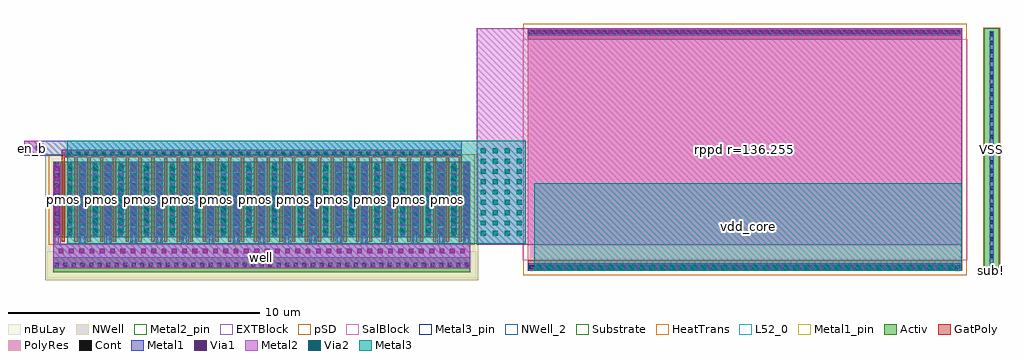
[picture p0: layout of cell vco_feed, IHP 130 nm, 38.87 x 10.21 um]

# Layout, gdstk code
import gdstk
lib = gdstk.Library(unit=1e-6, precision=1e-09)
def R(c, l, rs):  # rectangles x0, y0, x1, y1
    for r in rs: c.add(gdstk.rectangle(r[:2], r[2:], *l))
def A(c, l, x, y, w, h, nx, ny, dx, dy):  # array of equal rectangles
    R(c, l, [(x+i*dx, y+j*dy, x+i*dx+w, y+j*dy+h) for i in range(nx) for j in range(ny)])
def P(c, l, *ps):  # polygons
    for p in ps: c.add(gdstk.Polygon(p, *l))
Activ = (1, 0)
GatPoly = (5, 0)
Cont = (6, 0)
Metal1 = (8, 0)
Metal1_pin = (8, 2)
Metal2 = (10, 0)
Metal2_pin = (10, 2)
pSD = (14, 0)
Via1 = (19, 0)
SalBlock = (28, 0)
Via2 = (29, 0)
Metal3 = (30, 0)
Metal3_pin = (30, 2)
NWell = (31, 0)
NWell_2 = (31, 2)
nBuLay = (32, 0)
Substrate = (40, 0)
HeatTrans = (51, 0)
L52_0 = (52, 0)
EXTBlock = (111, 0)
PolyRes = (128, 0)

vco_feed = lib.new_cell('vco_feed')
A(vco_feed, Activ, 1.6, 4.43, 0.3, 0.3, 33, 1, 0.51, 0)
R(vco_feed, Activ, [(1.6,0.33,18.22,0.93), (38.68,0.39,39.28,10.05), (1.6,1.73,18.22,4.73)])
A(vco_feed, GatPoly, 1.94, 1.55, 0.13, 3.36, 32, 1, 0.51, 0)
R(vco_feed, GatPoly, [(20.5,0.39,37.8,0.62), (20.5,0.62,37.8,0.82), (1.94,1.55,2.07,4.91), (1.94,4.91,17.88,5.21), (2.11,4.91,17.71,5.21), (20.5,9.62,37.8,9.82), (20.5,9.82,37.8,10.05)])
A(vco_feed, Cont, 1.67, 0.55, 0.16, 0.16, 49, 1, 0.34, 0)
A(vco_feed, Cont, 38.9, 0.55, 0.16, 0.16, 1, 28, 0, 0.34)
A(vco_feed, Cont, 1.67, 1.8, 0.16, 0.16, 33, 2, 0.51, 0.39)
A(vco_feed, Cont, 1.67, 2.575, 0.16, 0.16, 33, 6, 0.51, 0.385)
A(vco_feed, Cont, 2.18, 4.98, 0.16, 0.16, 46, 1, 0.34, 0)
R(vco_feed, Cont, [(20.57,0.46,37.73,0.62), (20.57,9.82,37.73,9.98)])
R(vco_feed, Metal1, [(20.52,0.39,37.78,0.69), (38.9,0.5,39.06,9.94), (0.44,4.98,17.88,5.58), (20.52,9.75,37.78,10.05)])
P(vco_feed, Metal1, [(2.18,1.73),(2.18,1.855),(2.155,1.855),(2.155,4.605),(2.18,4.605),(2.18,4.73),(2.34,4.73),(2.34,4.605),(2.365,4.605),(2.365,1.855),(2.34,1.855),(2.34,1.73)],
  [(3.2,1.73),(3.2,1.855),(3.175,1.855),(3.175,4.605),(3.2,4.605),(3.2,4.73),(3.36,4.73),(3.36,4.605),(3.385,4.605),(3.385,1.855),(3.36,1.855),(3.36,1.73)],
  [(4.22,1.73),(4.22,1.855),(4.195,1.855),(4.195,4.605),(4.22,4.605),(4.22,4.73),(4.38,4.73),(4.38,4.605),(4.405,4.605),(4.405,1.855),(4.38,1.855),(4.38,1.73)],
  [(5.24,1.73),(5.24,1.855),(5.215,1.855),(5.215,4.605),(5.24,4.605),(5.24,4.73),(5.4,4.73),(5.4,4.605),(5.425,4.605),(5.425,1.855),(5.4,1.855),(5.4,1.73)],
  [(6.26,1.73),(6.26,1.855),(6.235,1.855),(6.235,4.605),(6.26,4.605),(6.26,4.73),(6.42,4.73),(6.42,4.605),(6.445,4.605),(6.445,1.855),(6.42,1.855),(6.42,1.73)],
  [(7.28,1.73),(7.28,1.855),(7.255,1.855),(7.255,4.605),(7.28,4.605),(7.28,4.73),(7.44,4.73),(7.44,4.605),(7.465,4.605),(7.465,1.855),(7.44,1.855),(7.44,1.73)],
  [(8.3,1.73),(8.3,1.855),(8.275,1.855),(8.275,4.605),(8.3,4.605),(8.3,4.73),(8.46,4.73),(8.46,4.605),(8.485,4.605),(8.485,1.855),(8.46,1.855),(8.46,1.73)],
  [(9.32,1.73),(9.32,1.855),(9.295,1.855),(9.295,4.605),(9.32,4.605),(9.32,4.73),(9.48,4.73),(9.48,4.605),(9.505,4.605),(9.505,1.855),(9.48,1.855),(9.48,1.73)],
  [(10.34,1.73),(10.34,1.855),(10.315,1.855),(10.315,4.605),(10.34,4.605),(10.34,4.73),(10.5,4.73),(10.5,4.605),(10.525,4.605),(10.525,1.855),(10.5,1.855),(10.5,1.73)],
  [(11.36,1.73),(11.36,1.855),(11.335,1.855),(11.335,4.605),(11.36,4.605),(11.36,4.73),(11.52,4.73),(11.52,4.605),(11.545,4.605),(11.545,1.855),(11.52,1.855),(11.52,1.73)],
  [(12.38,1.73),(12.38,1.855),(12.355,1.855),(12.355,4.605),(12.38,4.605),(12.38,4.73),(12.54,4.73),(12.54,4.605),(12.565,4.605),(12.565,1.855),(12.54,1.855),(12.54,1.73)],
  [(13.4,1.73),(13.4,1.855),(13.375,1.855),(13.375,4.605),(13.4,4.605),(13.4,4.73),(13.56,4.73),(13.56,4.605),(13.585,4.605),(13.585,1.855),(13.56,1.855),(13.56,1.73)],
  [(14.42,1.73),(14.42,1.855),(14.395,1.855),(14.395,4.605),(14.42,4.605),(14.42,4.73),(14.58,4.73),(14.58,4.605),(14.605,4.605),(14.605,1.855),(14.58,1.855),(14.58,1.73)],
  [(15.44,1.73),(15.44,1.855),(15.415,1.855),(15.415,4.605),(15.44,4.605),(15.44,4.73),(15.6,4.73),(15.6,4.605),(15.625,4.605),(15.625,1.855),(15.6,1.855),(15.6,1.73)],
  [(16.46,1.73),(16.46,1.855),(16.435,1.855),(16.435,4.605),(16.46,4.605),(16.46,4.73),(16.62,4.73),(16.62,4.605),(16.645,4.605),(16.645,1.855),(16.62,1.855),(16.62,1.73)],
  [(17.48,1.73),(17.48,1.855),(17.455,1.855),(17.455,4.605),(17.48,4.605),(17.48,4.73),(17.64,4.73),(17.64,4.605),(17.665,4.605),(17.665,1.855),(17.64,1.855),(17.64,1.73)],
  [(1.6,0.5),(1.6,1.48),(1.67,1.48),(1.67,1.855),(1.645,1.855),(1.645,4.605),(1.67,4.605),(1.67,4.73),(1.83,4.73),(1.83,4.605),(1.855,4.605),(1.855,1.855),(1.83,1.855),(1.83,1.48),(2.69,1.48),(2.69,1.855),(2.665,1.855),(2.665,4.605),(2.69,4.605),(2.69,4.73),(2.85,4.73),(2.85,4.605),(2.875,4.605),(2.875,1.855),(2.85,1.855),(2.85,1.48),(3.71,1.48),(3.71,1.855),(3.685,1.855),(3.685,4.605),(3.71,4.605),(3.71,4.73),(3.87,4.73),(3.87,4.605),(3.895,4.605),(3.895,1.855),(3.87,1.855),(3.87,1.48),(4.73,1.48),(4.73,1.855),(4.705,1.855),(4.705,4.605),(4.73,4.605),(4.73,4.73),(4.89,4.73),(4.89,4.605),(4.915,4.605),(4.915,1.855),(4.89,1.855),(4.89,1.48),(5.75,1.48),(5.75,1.855),(5.725,1.855),(5.725,4.605),(5.75,4.605),(5.75,4.73),(5.91,4.73),(5.91,4.605),(5.935,4.605),(5.935,1.855),(5.91,1.855),(5.91,1.48),(6.77,1.48),(6.77,1.855),(6.745,1.855),(6.745,4.605),(6.77,4.605),(6.77,4.73),(6.93,4.73),(6.93,4.605),(6.955,4.605),(6.955,1.855),(6.93,1.855),(6.93,1.48),(7.79,1.48),(7.79,1.855),(7.765,1.855),(7.765,4.605),(7.79,4.605),(7.79,4.73),(7.95,4.73),(7.95,4.605),(7.975,4.605),(7.975,1.855),(7.95,1.855),(7.95,1.48),(8.81,1.48),(8.81,1.855),(8.785,1.855),(8.785,4.605),(8.81,4.605),(8.81,4.73),(8.97,4.73),(8.97,4.605),(8.995,4.605),(8.995,1.855),(8.97,1.855),(8.97,1.48),(9.83,1.48),(9.83,1.855),(9.805,1.855),(9.805,4.605),(9.83,4.605),(9.83,4.73),(9.99,4.73),(9.99,4.605),(10.015,4.605),(10.015,1.855),(9.99,1.855),(9.99,1.48),(10.85,1.48),(10.85,1.855),(10.825,1.855),(10.825,4.605),(10.85,4.605),(10.85,4.73),(11.01,4.73),(11.01,4.605),(11.035,4.605),(11.035,1.855),(11.01,1.855),(11.01,1.48),(11.87,1.48),(11.87,1.855),(11.845,1.855),(11.845,4.605),(11.87,4.605),(11.87,4.73),(12.03,4.73),(12.03,4.605),(12.055,4.605),(12.055,1.855),(12.03,1.855),(12.03,1.48),(12.89,1.48),(12.89,1.855),(12.865,1.855),(12.865,4.605),(12.89,4.605),(12.89,4.73),(13.05,4.73),(13.05,4.605),(13.075,4.605),(13.075,1.855),(13.05,1.855),(13.05,1.48),(13.91,1.48),(13.91,1.855),(13.885,1.855),(13.885,4.605),(13.91,4.605),(13.91,4.73),(14.07,4.73),(14.07,4.605),(14.095,4.605),(14.095,1.855),(14.07,1.855),(14.07,1.48),(14.93,1.48),(14.93,1.855),(14.905,1.855),(14.905,4.605),(14.93,4.605),(14.93,4.73),(15.09,4.73),(15.09,4.605),(15.115,4.605),(15.115,1.855),(15.09,1.855),(15.09,1.48),(15.95,1.48),(15.95,1.855),(15.925,1.855),(15.925,4.605),(15.95,4.605),(15.95,4.73),(16.11,4.73),(16.11,4.605),(16.135,4.605),(16.135,1.855),(16.11,1.855),(16.11,1.48),(16.97,1.48),(16.97,1.855),(16.945,1.855),(16.945,4.605),(16.97,4.605),(16.97,4.73),(17.13,4.73),(17.13,4.605),(17.155,4.605),(17.155,1.855),(17.13,1.855),(17.13,1.48),(17.99,1.48),(17.99,1.855),(17.965,1.855),(17.965,4.605),(17.99,4.605),(17.99,4.73),(18.15,4.73),(18.15,4.605),(18.175,4.605),(18.175,1.855),(18.15,1.855),(18.15,1.48),(18.22,1.48),(18.22,0.5)])
R(vco_feed, Metal1_pin, [(20.52,0.39,37.78,0.69), (1.6,0.5,18.22,1.48), (1.67,0.5,18.15,0.76), (38.9,0.5,39.06,9.94), (1.67,0.55,18.15,0.71), (38.9,0.55,39.06,9.89), (20.52,9.75,37.78,10.05)])
A(vco_feed, Metal2, 2.16, 1.855, 0.2, 2.75, 16, 1, 1.02, 0)
R(vco_feed, Metal2, [(20.805,0.44,37.495,0.64), (18.47,1.44,37.78,10.05), (0.44,4.98,1.14,5.58)])
P(vco_feed, Metal2, [(1.6,0.5),(1.6,1.48),(1.605,1.48),(1.605,4.68),(1.895,4.68),(1.895,1.48),(2.625,1.48),(2.625,4.68),(2.915,4.68),(2.915,1.48),(3.645,1.48),(3.645,4.68),(3.935,4.68),(3.935,1.48),(4.665,1.48),(4.665,4.68),(4.955,4.68),(4.955,1.48),(5.685,1.48),(5.685,4.68),(5.975,4.68),(5.975,1.48),(6.705,1.48),(6.705,4.68),(6.995,4.68),(6.995,1.48),(7.725,1.48),(7.725,4.68),(8.015,4.68),(8.015,1.48),(8.745,1.48),(8.745,4.68),(9.035,4.68),(9.035,1.48),(9.765,1.48),(9.765,4.68),(10.055,4.68),(10.055,1.48),(10.785,1.48),(10.785,4.68),(11.075,4.68),(11.075,1.48),(11.805,1.48),(11.805,4.68),(12.095,4.68),(12.095,1.48),(12.825,1.48),(12.825,4.68),(13.115,4.68),(13.115,1.48),(13.845,1.48),(13.845,4.68),(14.135,4.68),(14.135,1.48),(14.865,1.48),(14.865,4.68),(15.155,4.68),(15.155,1.48),(15.885,1.48),(15.885,4.68),(16.175,4.68),(16.175,1.48),(16.905,1.48),(16.905,4.68),(17.195,4.68),(17.195,1.48),(17.925,1.48),(17.925,4.68),(18.215,4.68),(18.215,1.48),(18.22,1.48),(18.22,0.5)])
R(vco_feed, Metal2_pin, [(0.44,4.98,1.14,5.58)])
R(vco_feed, pSD, [(20.32,0.21,37.98,0.82), (38.65,0.36,39.31,10.08), (20.32,0.82,37.98,9.62), (1.42,1.43,18.4,5.03), (20.32,9.62,37.98,10.23)])
A(vco_feed, Via1, 20.855, 0.445, 0.19, 0.19, 41, 2, 0.41, 9.36)
A(vco_feed, Via1, 1.82, 1.085, 0.19, 0.19, 40, 1, 0.41, 0)
A(vco_feed, Via1, 1.655, 1.905, 0.19, 0.19, 33, 7, 0.51, 0.41)
R(vco_feed, Via1, [(0.49,5.185,0.68,5.375), (0.9,5.185,1.09,5.375)])
R(vco_feed, SalBlock, [(20.3,0.82,38,9.62)])
A(vco_feed, Via2, 20.855, 0.445, 0.19, 0.19, 41, 1, 0.41, 0)
A(vco_feed, Via2, 18.63, 1.795, 0.19, 0.19, 4, 9, 0.48, 0.41)
A(vco_feed, Via2, 2.165, 1.905, 0.19, 0.19, 16, 7, 1.02, 0.41)
R(vco_feed, Metal3, [(20.77,0.39,37.78,3.89), (2.16,1.48,20.42,5.58)])
R(vco_feed, Metal3_pin, [(20.77,0.39,37.78,3.89)])
R(vco_feed, NWell, [(1.29,0.02,18.53,5.04), (1.36,0.09,18.46,1.17), (1.6,0.33,18.22,0.93), (1.29,1.42,18.53,5.04)])
R(vco_feed, NWell_2, [(1.6,0.33,18.22,0.93)])
R(vco_feed, nBuLay, [(1.36,0.09,18.46,1.17)])
R(vco_feed, Substrate, [(38.68,0.39,39.28,10.05)])
A(vco_feed, HeatTrans, 1.94, 1.55, 0.13, 3.36, 32, 1, 0.51, 0)
R(vco_feed, L52_0, [(20.5,0.82,37.8,9.62)])
R(vco_feed, EXTBlock, [(20.32,0.21,37.98,0.82), (20.3,0.82,38,9.62), (20.32,9.62,37.98,10.23)])
R(vco_feed, PolyRes, [(20.5,0.82,37.8,9.62)])
vco_feed.add(gdstk.Label('pmos', (2.005,3.23), layer=63, texttype=0))
vco_feed.add(gdstk.Label('well', (9.91,0.92), layer=63, texttype=0))
vco_feed.add(gdstk.Label('rppd r=136.255', (29.15,5.22), layer=63, texttype=0))
vco_feed.add(gdstk.Label('sub!', (38.98,0.4), layer=63, texttype=0))
vco_feed.add(gdstk.Label('pmos', (2.005,3.23), layer=51, texttype=0))
vco_feed.add(gdstk.Label('pmos', (2.515,3.23), layer=51, texttype=0))
vco_feed.add(gdstk.Label('pmos', (3.025,3.23), layer=51, texttype=0))
vco_feed.add(gdstk.Label('pmos', (3.535,3.23), layer=51, texttype=0))
vco_feed.add(gdstk.Label('pmos', (4.045,3.23), layer=51, texttype=0))
vco_feed.add(gdstk.Label('pmos', (4.555,3.23), layer=51, texttype=0))
vco_feed.add(gdstk.Label('pmos', (5.065,3.23), layer=51, texttype=0))
vco_feed.add(gdstk.Label('pmos', (5.575,3.23), layer=51, texttype=0))
vco_feed.add(gdstk.Label('pmos', (6.085,3.23), layer=51, texttype=0))
vco_feed.add(gdstk.Label('pmos', (6.595,3.23), layer=51, texttype=0))
vco_feed.add(gdstk.Label('pmos', (7.105,3.23), layer=51, texttype=0))
vco_feed.add(gdstk.Label('pmos', (7.615,3.23), layer=51, texttype=0))
vco_feed.add(gdstk.Label('pmos', (8.125,3.23), layer=51, texttype=0))
vco_feed.add(gdstk.Label('pmos', (8.635,3.23), layer=51, texttype=0))
vco_feed.add(gdstk.Label('pmos', (9.145,3.23), layer=51, texttype=0))
vco_feed.add(gdstk.Label('pmos', (9.655,3.23), layer=51, texttype=0))
vco_feed.add(gdstk.Label('pmos', (10.165,3.23), layer=51, texttype=0))
vco_feed.add(gdstk.Label('pmos', (10.675,3.23), layer=51, texttype=0))
vco_feed.add(gdstk.Label('pmos', (11.185,3.23), layer=51, texttype=0))
vco_feed.add(gdstk.Label('pmos', (11.695,3.23), layer=51, texttype=0))
vco_feed.add(gdstk.Label('pmos', (12.205,3.23), layer=51, texttype=0))
vco_feed.add(gdstk.Label('pmos', (12.715,3.23), layer=51, texttype=0))
vco_feed.add(gdstk.Label('pmos', (13.225,3.23), layer=51, texttype=0))
vco_feed.add(gdstk.Label('pmos', (13.735,3.23), layer=51, texttype=0))
vco_feed.add(gdstk.Label('pmos', (14.245,3.23), layer=51, texttype=0))
vco_feed.add(gdstk.Label('pmos', (14.755,3.23), layer=51, texttype=0))
vco_feed.add(gdstk.Label('pmos', (15.265,3.23), layer=51, texttype=0))
vco_feed.add(gdstk.Label('pmos', (15.775,3.23), layer=51, texttype=0))
vco_feed.add(gdstk.Label('pmos', (16.285,3.23), layer=51, texttype=0))
vco_feed.add(gdstk.Label('pmos', (16.795,3.23), layer=51, texttype=0))
vco_feed.add(gdstk.Label('pmos', (17.305,3.23), layer=51, texttype=0))
vco_feed.add(gdstk.Label('pmos', (17.815,3.23), layer=51, texttype=0))
vco_feed.add(gdstk.Label('rppd', (29.15,5.22), layer=52, texttype=0))
vco_feed.add(gdstk.Label('sub!', (38.98,0.4), layer=40, texttype=0))
vco_feed.add(gdstk.Label('en_b', (0.79,5.28), layer=10, texttype=25))
vco_feed.add(gdstk.Label('VDD', (9.91,0.99), layer=8, texttype=25))
vco_feed.add(gdstk.Label('VSS', (38.98,5.22), layer=8, texttype=25))
vco_feed.add(gdstk.Label('vdd_core', (29.275,2.14), layer=30, texttype=25))

lib.write_gds('vco_feed.gds')
